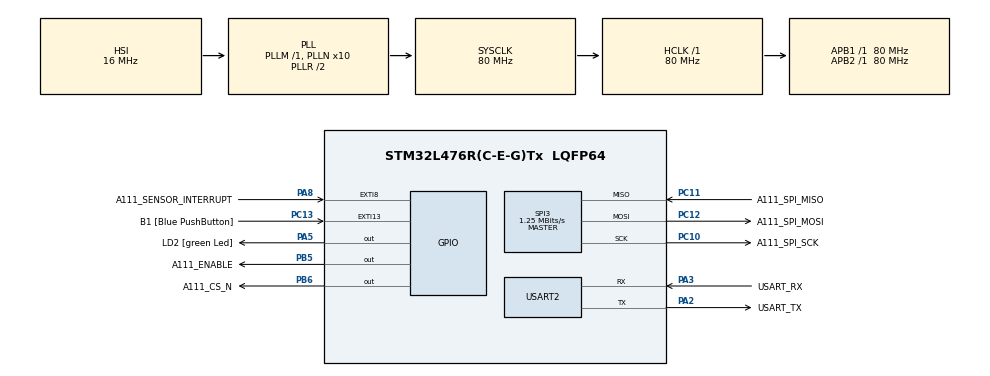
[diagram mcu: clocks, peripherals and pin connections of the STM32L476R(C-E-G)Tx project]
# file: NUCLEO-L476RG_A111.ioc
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Mcu.Family=STM32L4
Mcu.Name=STM32L476R(C-E-G)Tx
Mcu.Package=LQFP64
NVIC.EXTI9_5_IRQn=true\:0\:0\:false\:false\:true\:true\:true\:true
NVIC.PriorityGroup=NVIC_PRIORITYGROUP_4
PA13\ (JTMS-SWDIO).GPIO_Label=TMS
PA13\ (JTMS-SWDIO).Mode=Serial_Wire
PA13\ (JTMS-SWDIO).Signal=SYS_JTMS-SWDIO
PA14\ (JTCK-SWCLK).GPIO_Label=TCK
PA14\ (JTCK-SWCLK).Mode=Serial_Wire
PA14\ (JTCK-SWCLK).Signal=SYS_JTCK-SWCLK
PA2.GPIO_Label=USART_TX
PA2.GPIO_Mode=GPIO_MODE_AF_PP
PA2.GPIO_PuPd=GPIO_NOPULL
PA2.GPIO_Speed=GPIO_SPEED_FREQ_VERY_HIGH
PA2.Mode=Asynchronous
PA2.Signal=USART2_TX
PA3.GPIO_Label=USART_RX
PA3.GPIO_Mode=GPIO_MODE_AF_PP
PA3.GPIO_PuPd=GPIO_NOPULL
PA3.GPIO_Speed=GPIO_SPEED_FREQ_VERY_HIGH
PA3.Mode=Asynchronous
PA3.Signal=USART2_RX
PA5.GPIO_Label=LD2 [green Led]
PA5.GPIO_ModeDefaultOutputPP=GPIO_MODE_OUTPUT_PP
PA5.GPIO_PuPd=GPIO_NOPULL
PA5.GPIO_Speed=GPIO_SPEED_FREQ_LOW
PA5.Signal=GPIO_Output
PA8.GPIO_Label=A111_SENSOR_INTERRUPT
PA8.Signal=GPXTI8
PB3\ (JTDO-TRACESWO).GPIO_Label=SWO
PB3\ (JTDO-TRACESWO).Signal=SYS_JTDO-SWO
PB5.GPIO_Label=A111_ENABLE
PB5.Signal=GPIO_Output
PB6.GPIO_Label=A111_CS_N
PB6.Signal=GPIO_Output
PC10.GPIO_Label=A111_SPI_SCK
PC10.Mode=Full_Duplex_Master
PC10.Signal=SPI3_SCK
PC11.GPIO_Label=A111_SPI_MISO
PC11.Mode=Full_Duplex_Master
PC11.Signal=SPI3_MISO
PC12.GPIO_Label=A111_SPI_MOSI
PC12.Mode=Full_Duplex_Master
PC12.Signal=SPI3_MOSI
PC13.GPIO_Label=B1 [Blue PushButton]
PC13.GPIO_ModeDefaultEXTI=GPIO_MODE_IT_FALLING
PC13.GPIO_PuPd=GPIO_NOPULL
PC13.Signal=GPXTI13
PC14-OSC32_IN\ (PC14).Mode=LSE-External-Oscillator
PC14-OSC32_IN\ (PC14).Signal=RCC_OSC32_IN
PC15-OSC32_OUT\ (PC15).Mode=LSE-External-Oscillator
PC15-OSC32_OUT\ (PC15).Signal=RCC_OSC32_OUT
PH0-OSC_IN\ (PH0).Signal=RCC_OSC_IN
PH1-OSC_OUT\ (PH1).Signal=RCC_OSC_OUT
ProjectManager.HeapSize=0x200
ProjectManager.StackSize=0x400
ProjectManager.TargetToolchain=STM32CubeIDE
RCC.ADCFreq_Value=64000000
RCC.AHBFreq_Value=80000000
RCC.APB1Freq_Value=80000000
RCC.APB1TimFreq_Value=80000000
RCC.APB2Freq_Value=80000000
RCC.APB2TimFreq_Value=80000000
RCC.CortexFreq_Value=80000000
RCC.HCLKFreq_Value=80000000
RCC.HSE_VALUE=8000000
RCC.HSI_VALUE=16000000
RCC.MSI_VALUE=4000000
RCC.PLLN=10
RCC.PLLSourceVirtual=RCC_PLLSOURCE_HSI
RCC.PREFETCH_ENABLE=1
RCC.SYSCLKFreq_VALUE=80000000
RCC.SYSCLKSource=RCC_SYSCLKSOURCE_PLLCLK
RCC.USBFreq_Value=64000000
RCC.VCOOutputFreq_Value=160000000
SPI3.BaudRatePrescaler=SPI_BAUDRATEPRESCALER_64
SPI3.CalculateBaudRate=1.25 MBits/s
SPI3.DataSize=SPI_DATASIZE_8BIT
SPI3.Direction=SPI_DIRECTION_2LINES
SPI3.Mode=SPI_MODE_MASTER
SPI3.VirtualType=VM_MASTER
USART2.VirtualMode-Asynchronous=VM_ASYNC
board=NUCLEO-L476RG

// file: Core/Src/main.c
/* USER CODE BEGIN Header */
/**
  ******************************************************************************
  * @file           : main.c
  * @brief          : Main program body
  ******************************************************************************
  * @attention
  *
  * Copyright (c) 2023 STMicroelectronics.
  * All rights reserved.
  *
  * This software is licensed under terms that can be found in the LICENSE file
  * in the root directory of this software component.
  * If no LICENSE file comes with this software, it is provided AS-IS.
  *
  ******************************************************************************
  */
/* USER CODE END Header */
#include "main.h"

/* USER CODE BEGIN Includes */
#include "example_service_envelope.h"
#include "peak_detection.h"
#include "estimated_water_speed.h"

#include <stdbool.h>
#include <stdint.h>
#include <stdio.h>
#include <stdlib.h>

#include "acc_hal_definitions.h"
#include "acc_hal_integration.h"
#include "acc_rss.h"
#include "acc_service.h"
#include "acc_service_envelope.h"
#include "acc_version.h"
/* USER CODE END Includes */

SPI_HandleTypeDef hspi3;

UART_HandleTypeDef huart2;

void SystemClock_Config(void);
static void MX_GPIO_Init(void);
static void MX_USART2_UART_Init(void);
static void MX_SPI3_Init(void);

/* USER CODE BEGIN 0 */
int _write(int file, char *ptr, int len) {
	(void)file;
	HAL_UART_Transmit(&huart2, ptr, len, 0xFFFF);
	return len;
}

/* USER CODE END 0 */

int main(void)
{
  /* USER CODE BEGIN 1 */

	void update_configuration(acc_service_configuration_t envelope_configuration, float start_m, float length_m)
	{

		acc_service_profile_set(envelope_configuration, ACC_SERVICE_PROFILE_1);
		acc_service_requested_start_set(envelope_configuration, start_m);
		acc_service_requested_length_set(envelope_configuration, length_m);
	}

	void print_data(uint16_t *data, uint16_t data_length)
	{
		//printf("Envelope data:\n");
		for (uint16_t i = 0; i < data_length; i++)
		{
			printf("%6u", (unsigned int)(data[i]));
		}

		printf("\n");
	}

	int acc_example_service_envelope(int argc, char *argv[])
	{
		float start_m  = 0.2f;
		float length_m = 0.5f;
		(void)argc;
		(void)argv;
		//printf("Acconeer software version %s\n", acc_version_get());

		const acc_hal_t *hal = acc_hal_integration_get_implementation();

		if (!acc_rss_activate(hal))
		{
			printf("acc_rss_activate() failed\n");
			return EXIT_FAILURE;
		}

		acc_service_configuration_t envelope_configuration = acc_service_envelope_configuration_create();

		if (envelope_configuration == NULL)
		{
			printf("acc_service_envelope_configuration_create() failed\n");
			acc_rss_deactivate();
			return EXIT_FAILURE;
		}

		update_configuration(envelope_configuration, start_m, length_m);

		acc_service_handle_t handle = acc_service_create(envelope_configuration);

		if (handle == NULL)
		{
			printf("acc_service_create() failed\n");
			acc_service_envelope_configuration_destroy(&envelope_configuration);
			acc_rss_deactivate();
			return EXIT_FAILURE;
		}

		acc_service_envelope_configuration_destroy(&envelope_configuration);

		acc_service_envelope_metadata_t envelope_metadata = { 0 };
		acc_service_envelope_get_metadata(handle, &envelope_metadata);

		//printf("Start: %d mm\n", (int)(envelope_metadata.start_m * 1000.0f));
		//printf("Length: %u mm\n", (unsigned int)(envelope_metadata.length_m * 1000.0f));
		//printf("Data length: %u\n", (unsigned int)(envelope_metadata.data_length));

		if (!acc_service_activate(handle))
		{
			printf("acc_service_activate() failed\n");
			acc_service_destroy(&handle);
			acc_rss_deactivate();
			return EXIT_FAILURE;
		}

		bool                               success    = true;
		const int                          iterations = 5;
		uint16_t                           data[envelope_metadata.data_length];
		acc_service_envelope_result_info_t result_info;

		for (int i = 0; i < iterations; i++)
		{
			success = acc_service_envelope_get_next(handle, data, envelope_metadata.data_length, &result_info);

			if (!success)
			{
				//printf("acc_service_envelope_get_next() failed\n");
				break;
			}

			int* peaks = mutliple_peak_detection(data, envelope_metadata.data_length);
			print_data(data, envelope_metadata.data_length);

			double oldMin = 0;
			double oldMax = envelope_metadata.data_length;
			double newMin = start_m *100;
			double newMax = (start_m + length_m)*100;
			double radius = 6.5; // cm
			double peak1 = (((peaks[0] - oldMin) / (oldMax - oldMin)) * (newMax - newMin) + newMin);
			double peak2 = (((peaks[1] - oldMin) / (oldMax - oldMin)) * (newMax - newMin) + newMin);
			printf("Peaks ");
			printf("%6f\n",peak1);
			printf("%6f",peak2);
			printf("\n");
		    if (peak1 < peak2){
		    	double temp = peak1;
		    	peak1 = peak2;
		    	peak2 = temp;
		    }
		    uint16_t num_peaks = 2;
		    if (peak1 == newMin || peak2 == newMin){
		    	num_peaks = 1;

		    }

		    double value = 2*radius - (peak1 - peak2);

		    printf("Height");
		    printf("%.2f\n",value);
		    double K = 1; // Constant when using non retard units
		    double S = 0.001; // Slope of the pipe, assumption.
		    double n = 0.20; // Roughness coefficient, assumption.
		    uint16_t Q = water_flow(value, radius, K, S, n, num_peaks);
			printf("Speed ");
		    printf("%6u\n", Q);

		}

		bool deactivated = acc_service_deactivate(handle);

		acc_service_destroy(&handle);

		acc_rss_deactivate();

		if (deactivated && success)
		{
			//printf("Application finished OK\n");
			return EXIT_SUCCESS;
		}

		return EXIT_FAILURE;
	}

  /* USER CODE END 1 */

  /* MCU Configuration--------------------------------------------------------*/

  /* Reset of all peripherals, Initializes the Flash interface and the Systick. */
  HAL_Init();

  /* Configure the system clock */
  SystemClock_Config();

  /* Initialize all configured peripherals */
  MX_GPIO_Init();
  MX_USART2_UART_Init();
  MX_SPI3_Init();

  /* Infinite loop */
  while (1)
  {
	  HAL_Delay(5000);
	  acc_example_service_envelope(0, NULL);
  }
}

void SystemClock_Config(void)
{
  RCC_OscInitTypeDef RCC_OscInitStruct = {0};
  RCC_ClkInitTypeDef RCC_ClkInitStruct = {0};

  /** Configure the main internal regulator output voltage
  */
  if (HAL_PWREx_ControlVoltageScaling(PWR_REGULATOR_VOLTAGE_SCALE1) != HAL_OK)
  {
    Error_Handler();
  }

  /** Initializes the RCC Oscillators according to the specified parameters
  * in the RCC_OscInitTypeDef structure.
  */
  RCC_OscInitStruct.OscillatorType = RCC_OSCILLATORTYPE_HSI;
  RCC_OscInitStruct.HSIState = RCC_HSI_ON;
  RCC_OscInitStruct.HSICalibrationValue = RCC_HSICALIBRATION_DEFAULT;
  RCC_OscInitStruct.PLL.PLLState = RCC_PLL_ON;
  RCC_OscInitStruct.PLL.PLLSource = RCC_PLLSOURCE_HSI;
  RCC_OscInitStruct.PLL.PLLM = 1;
  RCC_OscInitStruct.PLL.PLLN = 10;
  RCC_OscInitStruct.PLL.PLLP = RCC_PLLP_DIV7;
  RCC_OscInitStruct.PLL.PLLQ = RCC_PLLQ_DIV2;
  RCC_OscInitStruct.PLL.PLLR = RCC_PLLR_DIV2;
  if (HAL_RCC_OscConfig(&RCC_OscInitStruct) != HAL_OK)
  {
    Error_Handler();
  }

  /** Initializes the CPU, AHB and APB buses clocks
  */
  RCC_ClkInitStruct.ClockType = RCC_CLOCKTYPE_HCLK|RCC_CLOCKTYPE_SYSCLK
                              |RCC_CLOCKTYPE_PCLK1|RCC_CLOCKTYPE_PCLK2;
  RCC_ClkInitStruct.SYSCLKSource = RCC_SYSCLKSOURCE_PLLCLK;
  RCC_ClkInitStruct.AHBCLKDivider = RCC_SYSCLK_DIV1;
  RCC_ClkInitStruct.APB1CLKDivider = RCC_HCLK_DIV1;
  RCC_ClkInitStruct.APB2CLKDivider = RCC_HCLK_DIV1;

  if (HAL_RCC_ClockConfig(&RCC_ClkInitStruct, FLASH_LATENCY_4) != HAL_OK)
  {
    Error_Handler();
  }
}

static void MX_SPI3_Init(void)
{

  /* SPI3 parameter configuration*/
  hspi3.Instance = SPI3;
  hspi3.Init.Mode = SPI_MODE_MASTER;
  hspi3.Init.Direction = SPI_DIRECTION_2LINES;
  hspi3.Init.DataSize = SPI_DATASIZE_8BIT;
  hspi3.Init.CLKPolarity = SPI_POLARITY_LOW;
  hspi3.Init.CLKPhase = SPI_PHASE_1EDGE;
  hspi3.Init.NSS = SPI_NSS_SOFT;
  hspi3.Init.BaudRatePrescaler = SPI_BAUDRATEPRESCALER_64;
  hspi3.Init.FirstBit = SPI_FIRSTBIT_MSB;
  hspi3.Init.TIMode = SPI_TIMODE_DISABLE;
  hspi3.Init.CRCCalculation = SPI_CRCCALCULATION_DISABLE;
  hspi3.Init.CRCPolynomial = 7;
  hspi3.Init.CRCLength = SPI_CRC_LENGTH_DATASIZE;
  hspi3.Init.NSSPMode = SPI_NSS_PULSE_ENABLE;
  if (HAL_SPI_Init(&hspi3) != HAL_OK)
  {
    Error_Handler();
  }

}

static void MX_USART2_UART_Init(void)
{

  huart2.Instance = USART2;
  huart2.Init.BaudRate = 115200;
  huart2.Init.WordLength = UART_WORDLENGTH_8B;
  huart2.Init.StopBits = UART_STOPBITS_1;
  huart2.Init.Parity = UART_PARITY_NONE;
  huart2.Init.Mode = UART_MODE_TX_RX;
  huart2.Init.HwFlowCtl = UART_HWCONTROL_NONE;
  huart2.Init.OverSampling = UART_OVERSAMPLING_16;
  huart2.Init.OneBitSampling = UART_ONE_BIT_SAMPLE_DISABLE;
  huart2.AdvancedInit.AdvFeatureInit = UART_ADVFEATURE_NO_INIT;
  if (HAL_UART_Init(&huart2) != HAL_OK)
  {
    Error_Handler();
  }

}

static void MX_GPIO_Init(void)
{
  GPIO_InitTypeDef GPIO_InitStruct = {0};

  /* GPIO Ports Clock Enable */
  __HAL_RCC_GPIOC_CLK_ENABLE();
  __HAL_RCC_GPIOH_CLK_ENABLE();
  __HAL_RCC_GPIOA_CLK_ENABLE();
  __HAL_RCC_GPIOB_CLK_ENABLE();

  /*Configure GPIO pin Output Level */
  HAL_GPIO_WritePin(LD2_GPIO_Port, LD2_Pin, GPIO_PIN_RESET);

  /*Configure GPIO pin Output Level */
  HAL_GPIO_WritePin(GPIOB, A111_ENABLE_Pin|A111_CS_N_Pin, GPIO_PIN_RESET);

  /*Configure GPIO pin : B1_Pin */
  GPIO_InitStruct.Pin = B1_Pin;
  GPIO_InitStruct.Mode = GPIO_MODE_IT_FALLING;
  GPIO_InitStruct.Pull = GPIO_NOPULL;
  HAL_GPIO_Init(B1_GPIO_Port, &GPIO_InitStruct);

  /*Configure GPIO pin : LD2_Pin */
  GPIO_InitStruct.Pin = LD2_Pin;
  GPIO_InitStruct.Mode = GPIO_MODE_OUTPUT_PP;
  GPIO_InitStruct.Pull = GPIO_NOPULL;
  GPIO_InitStruct.Speed = GPIO_SPEED_FREQ_LOW;
  HAL_GPIO_Init(LD2_GPIO_Port, &GPIO_InitStruct);

  /*Configure GPIO pin : A111_SENSOR_INTERRUPT_Pin */
  GPIO_InitStruct.Pin = A111_SENSOR_INTERRUPT_Pin;
  GPIO_InitStruct.Mode = GPIO_MODE_IT_RISING;
  GPIO_InitStruct.Pull = GPIO_NOPULL;
  HAL_GPIO_Init(A111_SENSOR_INTERRUPT_GPIO_Port, &GPIO_InitStruct);

  /*Configure GPIO pins : A111_ENABLE_Pin A111_CS_N_Pin */
  GPIO_InitStruct.Pin = A111_ENABLE_Pin|A111_CS_N_Pin;
  GPIO_InitStruct.Mode = GPIO_MODE_OUTPUT_PP;
  GPIO_InitStruct.Pull = GPIO_NOPULL;
  GPIO_InitStruct.Speed = GPIO_SPEED_FREQ_LOW;
  HAL_GPIO_Init(GPIOB, &GPIO_InitStruct);

  /* EXTI interrupt init*/
  HAL_NVIC_SetPriority(EXTI9_5_IRQn, 0, 0);
  HAL_NVIC_EnableIRQ(EXTI9_5_IRQn);

}

void Error_Handler(void)
{
  __disable_irq();
  while (1)
  {
  }
}
